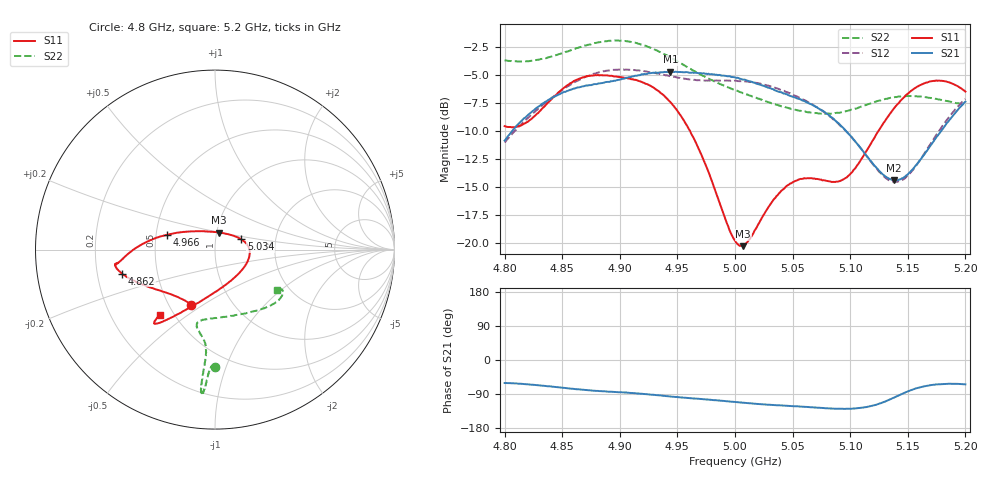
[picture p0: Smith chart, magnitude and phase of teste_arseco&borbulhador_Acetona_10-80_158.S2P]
! Network Analyzer HP8722D
! Hewlett-Packard
! Data name: Linha & Wilkinson
! Saver's name: Rodrigo Anjos
! Comments: Teste da utilização de aquisição
! continua pelo VNA HP8722D
! Time and date: 17/4/2025 15:40
!  Frequency  S11  S21  S12  S22
# HZ  S  MA R 50
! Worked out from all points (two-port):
!   401 points, 4.8 GHz to 5.2 GHz, reference 50 ohm
!   highest |S21| = -4.67 dB at 4.944 GHz (marker M1); lowest = -14.4 dB at 5.138 GHz (marker M2)
!   |S21| within 3 dB of the highest: 4.831 GHz to 5.068 GHz (236.4 MHz wide, 4.78 % of centre); 5.197146 GHz to end of sweep
!   lowest |S11| = -20.3 dB at 5.007 GHz (marker M3), VSWR 1.21, Z = 51.1 + j9.77 ohm
!   |S11| at or under -10 dB: 4.961 GHz to 5.124 GHz (163.3 MHz wide, 3.24 % of centre)
!   |S22| runs from -8.5 to -1.9 dB; largest |S21 - S12| = 0.87
!   S11 on the Smith chart (normalised r, x): 4.8 GHz: 0.65, -0.45; 4.862 GHz: 0.31, -0.12; 4.966 GHz: 0.57, +0.10; 5.034 GHz: 1.33, +0.16; 5.2 GHz: 0.42, -0.39
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4.8e9  0.3332 -113.2  0.2873 -60.8  0.2815 -174.9  0.6551 -89.9
4.819e9  0.3465 -133.1  0.3685 -63.9  0.3578 -173.4  0.65 -91.6
4.862e9  0.5353 -165.5  0.4936 -76.9  0.5278 -176.7  0.7421 -93.7
4.867e9  0.5482 -167.4  0.5011 -78.4  0.5426 -177.7  0.7561 -94.0
4.881e9  0.5641 -171.1  0.5164 -81.5  0.5775 179.4  0.789 -94.5
4.903e9  0.5499 -172.0  0.5428 -85.6  0.5977 175.1  0.8018 -95.4
4.934e9  0.4766 -178.0  0.5787 -93.3  0.5728 171.9  0.7177 -95.7
4.944e9  0.4266 177.6  0.5841 -96.2  0.5556 171.9  0.6759 -95.5
4.966e9  0.2815 163.1  0.5768 -101.8  0.5356 174.0  0.5819 -95.0
5e9  0.1025 102.4  0.5503 -110.8  0.5322 176.1  0.4824 -99.1
5.007e9  0.09684 77.9  0.538 -112.8  0.5284 176.2  0.4675 -100.7
5.034e9  0.1576 21.3  0.4835 -119.0  0.497 174.8  0.418 -103.6
5.05e9  0.1868 4.9  0.4509 -121.8  0.4611 174.3  0.3975 -99.6
5.067e9  0.1946 -13.3  0.4157 -124.8  0.4172 173.9  0.3818 -90.9
5.087e9  0.1875 -45.3  0.353 -128.6  0.3527 173.6  0.3813 -75.7
5.098e9  0.199 -67.9  0.3104 -128.6  0.3102 174.6  0.3901 -66.5
5.134e9  0.3748 -116.2  0.1935 -104.8  0.1902 -157.7  0.4448 -42.9
5.138e9  0.3999 -118.4  0.1909 -99.3  0.1881 -151.4  0.448 -41.1
5.15e9  0.4651 -123.9  0.2029 -82.8  0.2006 -132.6  0.4542 -36.7
5.17e9  0.5287 -128.6  0.2739 -66.2  0.2787 -112.4  0.4454 -31.9
5.184e9  0.5259 -129.9  0.3447 -62.9  0.356 -107.1  0.4317 -30.9
5.2e9  0.4754 -130.4  0.4285 -64.1  0.441 -106.3  0.4151 -33.2
